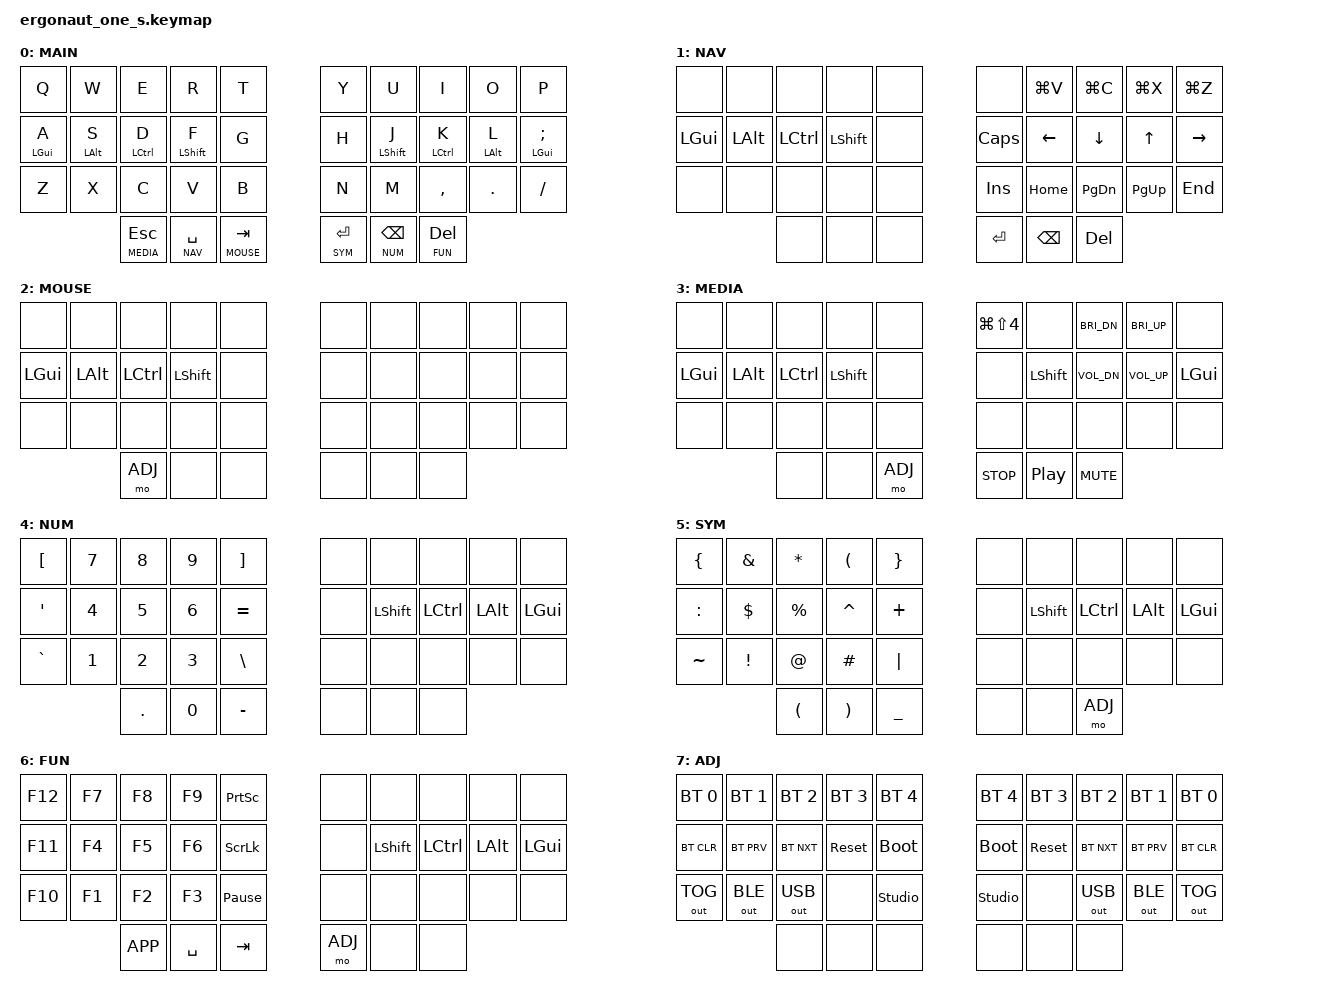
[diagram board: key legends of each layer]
#include <behaviors.dtsi>
#include <dt-bindings/zmk/keys.h>
#include <dt-bindings/zmk/bt.h>
#include <dt-bindings/zmk/outputs.h>

#define BASE 0
#define NAV 1
#define MOUSE 2
#define MEDIA 3
#define NUM 4
#define SYM 5
#define FUN 6
#define ADJ 7

/ {
        behaviors {
                hm: homerow_mods {
                        compatible = "zmk,behavior-hold-tap";
                        label = "HOMEROW_MODS";
                        #binding-cells = <2>;
                        tapping-term-ms = <220>;
                        quick_tap_ms = <0>;
                        flavor = "balanced";
                        bindings = <&kp>, <&kp>;
                };
        };

        keymap {
                compatible = "zmk,keymap";

                default_layer {
                        display-name = "MAIN";
                        bindings = <
   &kp Q       &kp W       &kp E          &kp R          &kp T             &kp Y        &kp U         &kp I        &kp O       &kp P
   &hm LGUI A  &hm LALT S  &hm LCTRL D    &hm LSHFT F    &kp G             &kp H        &hm LSHFT J   &hm LCTRL K  &hm LALT L  &hm LGUI SEMI
   &kp Z       &kp X       &kp C          &kp V          &kp B             &kp N        &kp M         &kp COMMA    &kp DOT     &kp FSLH
                           &lt MEDIA ESC  &lt NAV SPACE  &lt MOUSE TAB     &lt SYM RET  &lt NUM BSPC  &lt FUN DEL
                        >;
                };

                nav_layer {
                        display-name = "NAV";
                        bindings = <
   &none     &none         &none          &none          &none             &none          &kp LG(V)   &kp LG(C)    &kp LG(X)   &kp LG(Z)
   &kp LGUI  &kp LALT      &kp LCTRL      &kp LSHFT      &none             &kp CAPS       &kp LEFT    &kp DOWN     &kp UP      &kp RIGHT
   &none     &none         &none          &none          &none             &kp INS        &kp HOME    &kp PG_DN    &kp PG_UP   &kp END
                           &none          &none          &none             &kp RET        &kp BSPC    &kp DEL
                        >;
                };

                mouse_layer {
                        display-name = "MOUSE";
                        bindings = <
   &none       &none       &none          &none          &none             &none        &none         &none        &none       &none
   &kp LGUI    &kp LALT    &kp LCTRL      &kp LSHFT      &none             &none        &none         &none        &none       &none
   &none       &none       &none          &none          &none             &none        &none         &none        &none       &none
                           &mo ADJ        &none          &none             &none        &none         &none
                        >;
                };

                media_layer {
                        display-name = "MEDIA";
                        bindings = <
   &none       &none       &none          &none          &none             &kp LG(LS(N4))    &none         &kp C_BRI_DN  &kp C_BRI_UP  &none
   &kp LGUI    &kp LALT    &kp LCTRL      &kp LSHFT      &none             &none             &kp LSHFT     &kp C_VOL_DN  &kp C_VOL_UP  &kp LGUI
   &none       &none       &none          &none          &none             &none             &none         &none         &none         &none
                           &none          &none          &mo ADJ           &kp C_STOP        &kp C_PP      &kp K_MUTE
                        >;
                };

                num_layer {
                        display-name = "NUM";
                        bindings = <
   &kp LBKT    &kp N7      &kp N8         &kp N9         &kp RBKT          &none        &none         &none        &none       &none
   &kp SQT     &kp N4      &kp N5         &kp N6         &kp EQUAL         &none        &kp LSHFT     &kp LCTRL    &kp LALT    &kp LGUI
   &kp GRAVE   &kp N1      &kp N2         &kp N3         &kp BSLH          &none        &none         &none        &none       &none
                           &kp DOT        &kp N0         &kp MINUS         &none        &none         &none
                        >;
                };

                sym_layer {
                        display-name = "SYM";
                        bindings = <
   &kp LBRC    &kp AMPS    &kp STAR       &kp LPAR       &kp RBRC          &none        &none         &none        &none       &none
   &kp COLON   &kp DLLR    &kp PRCNT      &kp CARET      &kp PLUS          &none        &kp LSHFT     &kp LCTRL    &kp LALT    &kp LGUI
   &kp TILDE   &kp EXCL    &kp AT         &kp HASH       &kp PIPE          &none        &none         &none        &none       &none
                           &kp LPAR       &kp RPAR       &kp UNDER         &none        &none         &mo ADJ
                        >;
                };

                fun_layer {
                        display-name = "FUN";
                        bindings = <
   &kp F12     &kp F7      &kp F8         &kp F9         &kp PSCRN         &none        &none         &none        &none       &none
   &kp F11     &kp F4      &kp F5         &kp F6         &kp SLCK          &none        &kp LSHFT     &kp LCTRL    &kp LALT    &kp LGUI
   &kp F10     &kp F1      &kp F2         &kp F3         &kp PAUSE_BREAK   &none        &none         &none        &none       &none
                           &kp K_APP      &kp SPACE      &kp TAB           &mo ADJ      &none         &none
                        >;
                };

                adj_layer {
                        display-name = "ADJ";
                        bindings = <
   &bt BT_SEL 0  &bt BT_SEL 1  &bt BT_SEL 2  &bt BT_SEL 3 &bt BT_SEL 4   &bt BT_SEL 4   &bt BT_SEL 3  &bt BT_SEL 2  &bt BT_SEL 1 &bt BT_SEL 0
   &bt BT_CLR    &bt BT_PRV    &bt BT_NXT    &sys_reset   &bootloader    &bootloader    &sys_reset    &bt BT_NXT    &bt BT_PRV   &bt BT_CLR
   &out OUT_TOG  &out OUT_BLE  &out OUT_USB  &none        &studio_unlock &studio_unlock &none         &out OUT_USB  &out OUT_BLE &out OUT_TOG
                               &none         &none        &none          &none          &none       &none
                        >;
                };
        };
};
